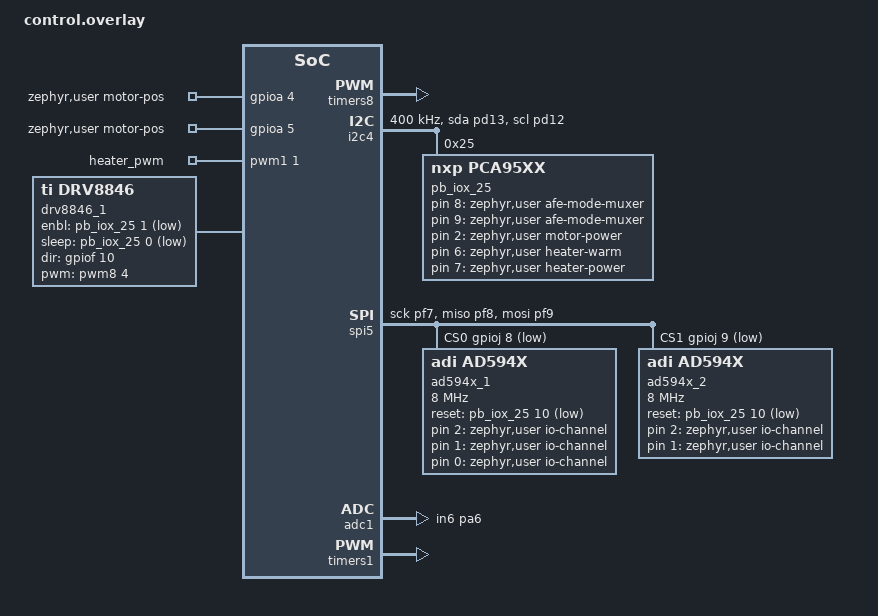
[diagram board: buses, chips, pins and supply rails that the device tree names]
#include <dt-bindings/gpio/gpio_ad594x.h>

/ {
    zephyr,user {
        io-channels =   <0>,
        <0>,             //AFE channel 2 not connected
        <0>,             //AFE channel 3 not connected
        <&ad594x_1 2>,   //AFE channel 4.
        <&ad594x_1 1>,   //AFE channel 5.
        <&ad594x_1 0>,   //AFE channel 6.
        <&ad594x_2 2>,   //AFE channel 7.
        <&ad594x_2 1>,   //AFE channel 8.
        <&ad594x_2 0>,   //AFE channel 9.
        ;

        afe-detect-adc-channel = <11>;
        afe-mode-muxer-gpios = <&pb_iox_25 8 GPIO_ACTIVE_HIGH>,
                               <&pb_iox_25 9 GPIO_ACTIVE_HIGH>;

        motor-power-gpios = <&pb_iox_25 2 GPIO_ACTIVE_HIGH>;
        motor-pos-gpios = <&gpioa 4 GPIO_ACTIVE_HIGH>,
                          <&gpioa 5 GPIO_ACTIVE_HIGH>;
        motor-ctl = &drv8846_1;

        heater-thermistor-channel = <6>;
        heater-warm-gpios = <&pb_iox_25 6 GPIO_ACTIVE_HIGH>;
        heater-power-gpios = <&pb_iox_25 7 GPIO_ACTIVE_HIGH>;
        heater-thermistor-adc = &adc1;
        heater-pwm = &heater_pwm;
    };

    heater {
        compatible = "pwm-leds";
        heater_pwm: heater_pwm {
            pwms = <&pwm1 1 0 PWM_POLARITY_NORMAL>;
        };
    };

    drv8846_1 {
        compatible = "ti,drv8846";
        status = "okay";
        enbl-gpios = <&pb_iox_25 1 GPIO_ACTIVE_LOW>;
        sleep-gpios = <&pb_iox_25 0 GPIO_ACTIVE_LOW>;
        dir-gpios = <&gpiof 10 GPIO_ACTIVE_HIGH>;

        pwms = <&pwm8 4 0 PWM_POLARITY_NORMAL>;
    };
};

&timers8 {
    status = "okay";

    pwm8: pwm {
        status = "okay";
        pinctrl-0 = <&tim8_ch4_pc9>;
        st,prescaler = <215>; // frequency 1 MHz
    };
};

&i2c4 {
    status = "okay";
    pinctrl-0 = <&i2c4_sda_pd13 &i2c4_scl_pd12>;
    clock-frequency = <I2C_BITRATE_FAST>;

    pb_iox_25: pca9535@25 {
        compatible = "nxp,pca95xx";
        reg = <0x25>;
        #gpio-cells = <2>;
        gpio-controller;

        status = "okay";
    };
};

&spi5 {
    status = "okay";
    pinctrl-0 = <&spi5_sck_pf7
                 &spi5_miso_pf8
                 &spi5_mosi_pf9>;

    cs-gpios = <&gpioj 8 GPIO_ACTIVE_LOW>,
               <&gpioj 9 GPIO_ACTIVE_LOW>,;

    ad594x_1: ad594x_1@0 {
        compatible = "adi,ad594x";
        status = "okay";
        reg = <0x0>;
        spi-max-frequency = <8000000>; // 8 MHz
        #io-channel-cells = <1>;
        reset-gpios = <&pb_iox_25 10 GPIO_ACTIVE_LOW>;

        ad594x_1_gpio: gpio {
            compatible = "adi,ad594x-gpio";
            status = "okay";
            gpio-controller;
            #gpio-cells = <2>;
        };
    };

    ad594x_2: ad594x_2@1 {
        compatible = "adi,ad594x";
        status = "okay";
        reg = <0x1>;
        spi-max-frequency = <8000000>; // 8 MHz
        #io-channel-cells = <1>;
        reset-gpios = <&pb_iox_25 10 GPIO_ACTIVE_LOW>;

        ad594x_2_gpio: gpio {
            compatible = "adi,ad594x-gpio";
            status = "okay";
            gpio-controller;
            #gpio-cells = <2>;
        };
    };

};

&adc1 {
    status = "okay";
    pinctrl-0 = <&adc1_in6_pa6>;
};

&timers1 {
    status = "okay";

    pwm1: pwm {
        status = "okay";
        pinctrl-0 = <&tim1_ch1_pa8>;
        st,prescaler = <9>; // PWM frequency 21.6 MHz
    };
};
